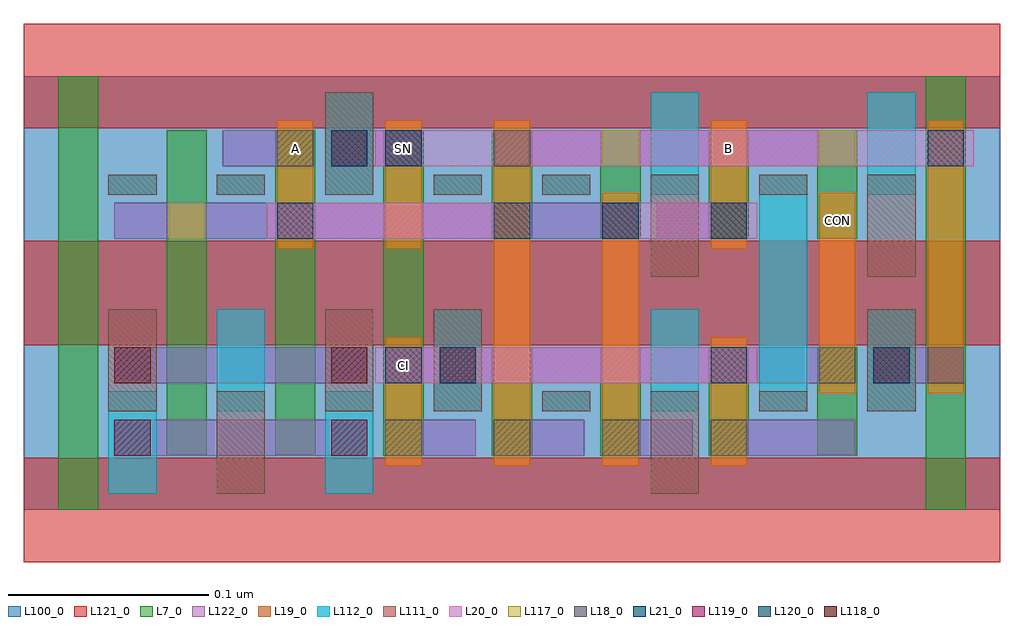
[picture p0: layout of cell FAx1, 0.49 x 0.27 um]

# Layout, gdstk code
import gdstk
lib = gdstk.Library(unit=1e-6, precision=2.5e-10)
def R(c, l, rs):  # rectangles x0, y0, x1, y1
    for r in rs: c.add(gdstk.rectangle(r[:2], r[2:], *l))
def A(c, l, x, y, w, h, nx, ny, dx, dy):  # array of equal rectangles
    R(c, l, [(x+i*dx, y+j*dy, x+i*dx+w, y+j*dy+h) for i in range(nx) for j in range(ny)])
L7_0 = (7, 0)
L18_0 = (18, 0)
L19_0 = (19, 0)
L20_0 = (20, 0)
L21_0 = (21, 0)
L100_0 = (100, 0)
L111_0 = (111, 0)
L112_0 = (112, 0)
L117_0 = (117, 0)
L118_0 = (118, 0)
L119_0 = (119, 0)
L120_0 = (120, 0)
L121_0 = (121, 0)
L122_0 = (122, 0)

fax1 = lib.new_cell('FAx1')
A(fax1, L7_0, 0.071, 0.027, 0.02, 0.081, 3, 2, 0.054, 0.081)
A(fax1, L7_0, 0.233, 0.027, 0.02, 0.054, 4, 2, 0.054, 0.108)
R(fax1, L7_0, [(0.017,0,0.037,0.108), (0.449,0,0.469,0.108), (0.017,0.108,0.037,0.216), (0.449,0.108,0.469,0.216)])
A(fax1, L18_0, 0.18, 0.027, 0.018, 0.018, 4, 1, 0.054, 0)
A(fax1, L18_0, 0.126, 0.171, 0.018, 0.018, 3, 1, 0.054, 0)
R(fax1, L18_0, [(0.396,0.063,0.414,0.081), (0.45,0.063,0.468,0.081), (0.288,0.135,0.306,0.153), (0.342,0.135,0.36,0.153)])
R(fax1, L19_0, [(0.18,0.022,0.198,0.086), (0.234,0.022,0.252,0.194), (0.288,0.022,0.306,0.158), (0.342,0.022,0.36,0.086), (0.396,0.058,0.414,0.158), (0.45,0.058,0.468,0.194), (0.126,0.13,0.144,0.194), (0.18,0.13,0.198,0.194), (0.342,0.13,0.36,0.194)])
R(fax1, L20_0, [(0.175,0.063,0.365,0.081), (0.121,0.135,0.252,0.153), (0.288,0.135,0.365,0.153), (0.175,0.171,0.473,0.189)])
A(fax1, L21_0, 0.234, 0.135, 0.018, 0.018, 3, 1, 0.054, 0)
R(fax1, L21_0, [(0.18,0.063,0.198,0.081), (0.342,0.063,0.36,0.081), (0.126,0.135,0.144,0.153), (0.18,0.171,0.198,0.189), (0.45,0.171,0.468,0.189)])
R(fax1, L100_0, [(0,0,0.486,0.216)])
R(fax1, L111_0, [(0.096,0.008,0.12,0.059), (0.312,0.008,0.336,0.059), (0.042,0.049,0.066,0.1), (0.15,0.049,0.174,0.1), (0.204,0.049,0.228,0.1), (0.258,0.049,0.282,0.059), (0.366,0.049,0.39,0.059), (0.42,0.049,0.444,0.1), (0.312,0.116,0.336,0.167), (0.42,0.116,0.444,0.167), (0.042,0.157,0.066,0.167), (0.096,0.157,0.12,0.167), (0.15,0.157,0.174,0.208), (0.204,0.157,0.228,0.167), (0.258,0.157,0.282,0.167), (0.366,0.157,0.39,0.167)])
A(fax1, L112_0, 0.096, 0.049, 0.024, 0.051, 4, 1, 0.108, 0)
R(fax1, L112_0, [(0.042,0.008,0.066,0.059), (0.15,0.008,0.174,0.059), (0.258,0.049,0.282,0.059), (0.366,0.049,0.39,0.108), (0.366,0.108,0.39,0.167), (0.042,0.157,0.066,0.167), (0.096,0.157,0.12,0.167), (0.15,0.157,0.174,0.208), (0.204,0.157,0.228,0.167), (0.258,0.157,0.282,0.167), (0.312,0.157,0.336,0.208), (0.42,0.157,0.444,0.208)])
A(fax1, L117_0, 0.18, 0.027, 0.018, 0.018, 4, 1, 0.054, 0)
R(fax1, L117_0, [(0.396,0.063,0.414,0.081), (0.072,0.135,0.09,0.153), (0.234,0.135,0.252,0.153), (0.342,0.135,0.36,0.153), (0.126,0.171,0.144,0.189), (0.288,0.171,0.306,0.189), (0.396,0.171,0.414,0.189)])
R(fax1, L118_0, [(0.045,0.063,0.063,0.081), (0.153,0.063,0.171,0.081)])
R(fax1, L119_0, [(0.045,0.027,0.063,0.045), (0.153,0.027,0.171,0.045), (0.207,0.063,0.225,0.081), (0.423,0.063,0.441,0.081), (0.153,0.171,0.171,0.189)])
R(fax1, L120_0, [(0.207,0.063,0.225,0.081), (0.423,0.063,0.441,0.081), (0.153,0.171,0.171,0.189)])
A(fax1, L121_0, 0, -0.026, 0.486, 0.052, 1, 3, 0, 0.108)
A(fax1, L122_0, 0.18, 0.027, 0.045, 0.018, 3, 1, 0.054, 0)
R(fax1, L122_0, [(0.045,0.027,0.171,0.045), (0.342,0.027,0.414,0.045), (0.045,0.063,0.171,0.081), (0.18,0.063,0.414,0.081), (0.423,0.063,0.468,0.081), (0.045,0.135,0.306,0.153), (0.315,0.135,0.36,0.153), (0.099,0.171,0.144,0.189), (0.153,0.171,0.198,0.189), (0.234,0.171,0.414,0.189)])
fax1.add(gdstk.Label('SN', (0.189,0.18), layer=19, texttype=251))
fax1.add(gdstk.Label('CON', (0.405,0.144), layer=19, texttype=251))
fax1.add(gdstk.Label('CI', (0.189,0.072), layer=19, texttype=251))
fax1.add(gdstk.Label('B', (0.351,0.18), layer=19, texttype=251))
fax1.add(gdstk.Label('A', (0.135,0.18), layer=19, texttype=251))

lib.write_gds('FAx1.gds')
